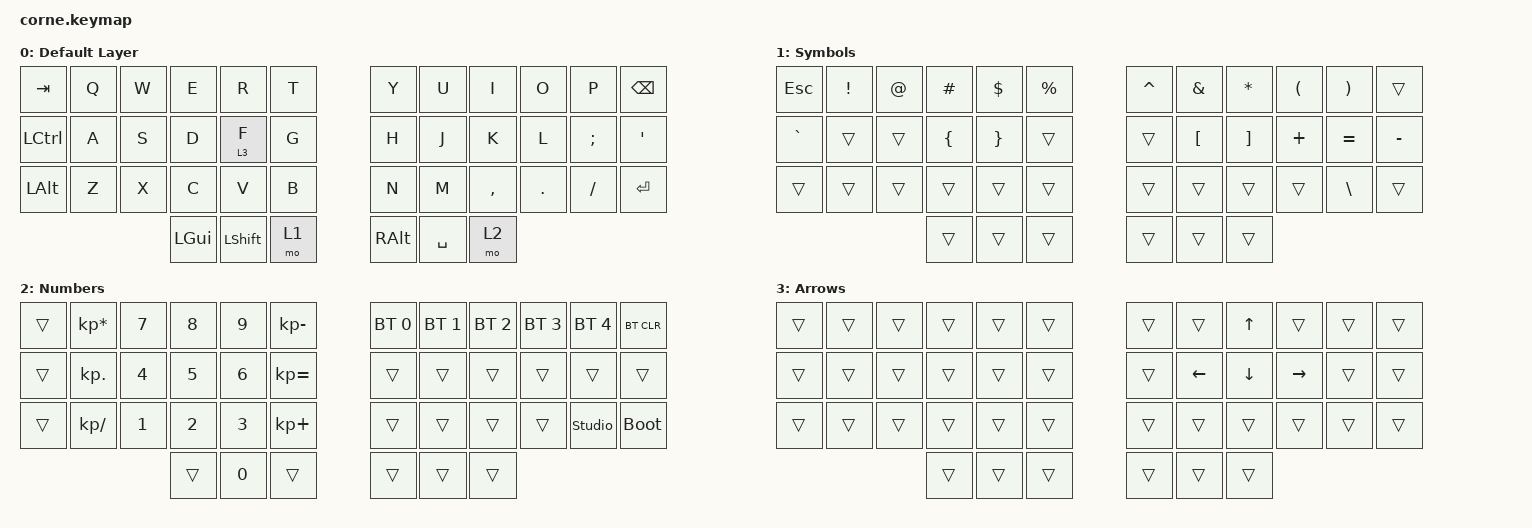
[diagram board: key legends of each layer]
/*
 * Copyright (c) 2020 The ZMK Contributors
 *
 * SPDX-License-Identifier: MIT
 */

#include <behaviors.dtsi>
#include <dt-bindings/zmk/bt.h>
#include <dt-bindings/zmk/keys.h>

/ {
    combos {
        compatible = "zmk,combos";

        BOOT {
            bindings = <&bootloader>;
            key-positions = <36 37 38 39 40 41>;
        };
    };

    keymap {
        compatible = "zmk,keymap";

        Base {
            display-name = "Default Layer";

            // -----------------------------------------------------------------------------------------
            // |  TAB |  Q  |  W  |  E  |  R  |  T  |   |  Y  |  U   |  I  |  O  |  P  | BSPC |
            // | CTRL |  A  |  S  |  D  |  F  |  G  |   |  H  |  J   |  K  |  L  |  ;  |  '   |
            // | SHFT |  Z  |  X  |  C  |  V  |  B  |   |  N  |  M   |  ,  |  .  |  /  | ESC  |
            //                    | GUI | LWR | SPC |   | ENT | RSE  | ALT |

            bindings = <
&kp TAB       &kp Q  &kp W  &kp E     &kp R           &kp T    &kp Y          &kp U      &kp I      &kp O    &kp P     &kp BSPC
&kp LCTRL     &kp A  &kp S  &kp D     &lt 3 F         &kp G    &kp H          &kp J      &kp K      &kp L    &kp SEMI  &kp SQT
&kp LEFT_ALT  &kp Z  &kp X  &kp C     &kp V           &kp B    &kp N          &kp M      &kp COMMA  &kp DOT  &kp FSLH  &kp RETURN
                            &kp LGUI  &kp LEFT_SHIFT  &mo 1    &kp RIGHT_ALT  &kp SPACE  &mo 2
            >;
        };

        Symbols {
            bindings = <
&kp ESCAPE  &kp EXCLAMATION  &kp AT_SIGN  &kp HASH        &kp DOLLAR       &kp PERCENT    &kp CARET  &kp AMPERSAND     &kp ASTERISK       &kp LEFT_PARENTHESIS  &kp RIGHT_PARENTHESIS  &trans
&kp GRAVE   &trans           &trans       &kp LEFT_BRACE  &kp RIGHT_BRACE  &trans         &trans     &kp LEFT_BRACKET  &kp RIGHT_BRACKET  &kp PLUS              &kp EQUAL              &kp MINUS
&trans      &trans           &trans       &trans          &trans           &trans         &trans     &trans            &trans             &trans                &kp BACKSLASH          &trans
                                          &trans          &trans           &trans         &trans     &trans            &trans
            >;
        };

        Numbers {
            bindings = <
&trans  &kp KP_MULTIPLY  &kp NUMBER_7  &kp NUMBER_8  &kp NUMBER_9  &kp KP_MINUS    &bt BT_SEL 0  &bt BT_SEL 1  &bt BT_SEL 2  &bt BT_SEL 3  &bt BT_SEL 4    &bt BT_CLR
&trans  &kp KP_DOT       &kp NUMBER_4  &kp NUMBER_5  &kp NUMBER_6  &kp KP_EQUAL    &trans        &trans        &trans        &trans        &trans          &trans
&trans  &kp KP_DIVIDE    &kp NUMBER_1  &kp NUMBER_2  &kp NUMBER_3  &kp KP_PLUS     &trans        &trans        &trans        &trans        &studio_unlock  &bootloader
                                       &trans        &kp NUMBER_0  &trans          &trans        &trans        &trans
            >;
        };

        Arrows {
            bindings = <
&trans  &trans  &trans  &trans  &trans  &trans    &trans  &trans          &kp UP_ARROW    &trans           &trans  &trans
&trans  &trans  &trans  &trans  &trans  &trans    &trans  &kp LEFT_ARROW  &kp DOWN_ARROW  &kp RIGHT_ARROW  &trans  &trans
&trans  &trans  &trans  &trans  &trans  &trans    &trans  &trans          &trans          &trans           &trans  &trans
                        &trans  &trans  &trans    &trans  &trans          &trans
            >;
        };
    };
};
